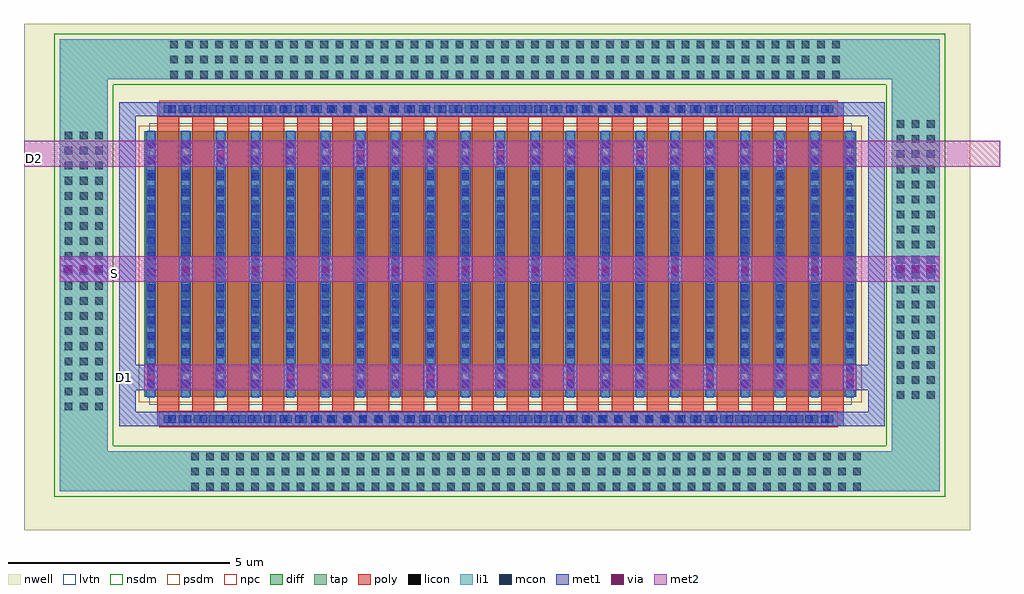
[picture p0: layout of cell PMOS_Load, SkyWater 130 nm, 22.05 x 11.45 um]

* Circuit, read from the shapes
.subckt PMOS_Load D1 D2 S
XM1 S D1 D1 S sky130_fd_pr__pfet_01v8_lvt w=6 l=0.5 m=10
XM2 D2 D1 S S sky130_fd_pr__pfet_01v8_lvt w=6 l=0.5 m=10
.ends

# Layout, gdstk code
import gdstk
lib = gdstk.Library(unit=1e-6, precision=1e-09)
def R(c, l, rs):  # rectangles x0, y0, x1, y1
    for r in rs: c.add(gdstk.rectangle(r[:2], r[2:], *l))
def A(c, l, x, y, w, h, nx, ny, dx, dy):  # array of equal rectangles
    R(c, l, [(x+i*dx, y+j*dy, x+i*dx+w, y+j*dy+h) for i in range(nx) for j in range(ny)])
nwell = (64, 20)
diff = (65, 20)
tap = (65, 44)
poly = (66, 20)
licon = (66, 44)
li1 = (67, 20)
mcon = (67, 44)
met1 = (68, 20)
via = (68, 44)
met2 = (69, 20)
nsdm = (93, 44)
psdm = (94, 20)
npc = (95, 20)
lvtn = (125, 44)

sky130_fd_pr__pfet_01v8_ = lib.new_cell('sky130_fd_pr__pfet_01v8_lvt_EEU9S7')
R(sky130_fd_pr__pfet_01v8_, nwell, [(-0.72,-3.31,0.72,3.31)])
R(sky130_fd_pr__pfet_01v8_, diff, [(-0.54,-3,0.54,3)])
R(sky130_fd_pr__pfet_01v8_, poly, [(-0.25,-3.13,0.25,3.13)])
A(sky130_fd_pr__pfet_01v8_, licon, -0.48, -2.805, 0.17, 0.17, 1, 17, 0, 0.34)
A(sky130_fd_pr__pfet_01v8_, licon, 0.31, -2.805, 0.17, 0.17, 1, 17, 0, 0.34)
R(sky130_fd_pr__pfet_01v8_, li1, [(-0.48,-3.02,-0.31,3.02), (0.31,-3.02,0.48,3.02)])
A(sky130_fd_pr__pfet_01v8_, mcon, -0.48, -2.785, 0.17, 0.17, 1, 16, 0, 0.36)
A(sky130_fd_pr__pfet_01v8_, mcon, 0.31, -2.785, 0.17, 0.17, 1, 16, 0, 0.36)
R(sky130_fd_pr__pfet_01v8_, met1, [(-0.51,-3,-0.28,3), (0.28,-3,0.51,3)])
R(sky130_fd_pr__pfet_01v8_, psdm, [(-0.665,-3.125,0.665,3.125)])
R(sky130_fd_pr__pfet_01v8_, lvtn, [(-0.43,-3.18,0.43,3.18)])

pmos_load = lib.new_cell('PMOS_Load')
R(pmos_load, nwell, [(-2.54,-2.705,18.845,8.745)])
R(pmos_load, tap, [(-1.735,-1.825,18.155,-0.92), (-1.735,-0.92,-0.645,7.485), (17.065,-0.92,18.155,7.485), (-1.735,7.485,18.155,8.39)])
A(pmos_load, poly, 0.47, -0.03, 0.5, 0.21, 20, 2, 0.79, 6.47)
R(pmos_load, poly, [(0.47,-0.35,15.98,-0.03), (0.47,6.65,15.98,6.97)])
A(pmos_load, licon, 1.24, -1.8, 0.17, 0.17, 45, 3, 0.34, 0.34)
A(pmos_load, licon, 0.615, -0.27, 0.17, 0.17, 45, 2, 0.34, 7)
A(pmos_load, licon, -1.615, 0.01, 0.17, 0.17, 3, 19, 0.34, 0.34)
A(pmos_load, licon, 17.185, 0.27, 0.17, 0.17, 3, 19, 0.34, 0.34)
A(pmos_load, licon, 0.76, 7.51, 0.17, 0.17, 45, 3, 0.34, 0.34)
R(pmos_load, li1, [(-1.735,-1.825,18.155,-0.92), (-1.735,-0.92,-0.645,7.485), (17.065,-0.92,18.155,7.485), (0.47,-0.35,15.98,-0.03), (0.47,6.65,15.98,6.97), (-1.735,7.485,18.155,8.39)])
A(pmos_load, mcon, 0.715, -0.27, 0.17, 0.17, 42, 2, 0.36, 7)
A(pmos_load, mcon, -1.645, 3.115, 0.17, 0.17, 3, 1, 0.36, 0)
A(pmos_load, mcon, 17.16, 3.12, 0.17, 0.17, 3, 1, 0.36, 0)
A(pmos_load, met1, 3.325, 0.46, 0.32, 0.58, 4, 1, 3.16, 0)
A(pmos_load, met1, 0.955, 2.91, 0.32, 0.58, 10, 1, 1.58, 0)
A(pmos_load, met1, 1.745, 5.515, 0.32, 0.58, 5, 1, 3.16, 0)
R(pmos_load, met1, [(-0.385,-0.35,16.915,-0.03), (-0.385,-0.03,-0.01,0.46), (16.54,-0.03,16.915,0.46), (-0.385,0.46,0.485,1.04), (15.965,0.46,16.915,1.04), (-0.385,1.04,-0.01,6.65), (16.54,1.04,16.915,6.65), (-1.735,2.91,-0.645,3.49), (17.065,2.91,18.155,3.49), (-0.385,6.65,16.915,6.97)])
A(pmos_load, via, 0.25, 0.675, 0.15, 0.15, 6, 1, 3.16, 0)
A(pmos_load, via, -1.595, 3.125, 0.15, 0.15, 3, 1, 0.32, 0)
A(pmos_load, via, 1.04, 3.125, 0.15, 0.15, 10, 1, 1.58, 0)
A(pmos_load, via, 17.21, 3.13, 0.15, 0.15, 3, 1, 0.32, 0)
A(pmos_load, via, 1.83, 5.73, 0.15, 0.15, 5, 1, 3.16, 0)
R(pmos_load, met2, [(0.18,0.46,16.27,1.04), (-1.735,2.91,18.155,3.49), (-2.54,5.515,19.515,6.095)])
R(pmos_load, nsdm, [(-1.86,-1.95,18.28,-0.795), (-1.86,-0.795,-0.52,7.36), (16.94,-0.795,18.28,7.36), (-1.86,7.36,18.28,8.515)])
R(pmos_load, npc, [(0.515,-0.37,15.845,0), (0.515,6.63,15.845,7)])
pmos_load.add(gdstk.Reference(sky130_fd_pr__pfet_01v8_, (0.72,3.31)))
pmos_load.add(gdstk.Reference(sky130_fd_pr__pfet_01v8_, (1.51,3.31)))
pmos_load.add(gdstk.Reference(sky130_fd_pr__pfet_01v8_, (2.3,3.31)))
pmos_load.add(gdstk.Reference(sky130_fd_pr__pfet_01v8_, (3.09,3.31)))
pmos_load.add(gdstk.Reference(sky130_fd_pr__pfet_01v8_, (3.88,3.31)))
pmos_load.add(gdstk.Reference(sky130_fd_pr__pfet_01v8_, (4.67,3.31)))
pmos_load.add(gdstk.Reference(sky130_fd_pr__pfet_01v8_, (5.46,3.31)))
pmos_load.add(gdstk.Reference(sky130_fd_pr__pfet_01v8_, (6.25,3.31)))
pmos_load.add(gdstk.Reference(sky130_fd_pr__pfet_01v8_, (7.04,3.31)))
pmos_load.add(gdstk.Reference(sky130_fd_pr__pfet_01v8_, (7.83,3.31)))
pmos_load.add(gdstk.Reference(sky130_fd_pr__pfet_01v8_, (8.62,3.31)))
pmos_load.add(gdstk.Reference(sky130_fd_pr__pfet_01v8_, (10.2,3.31)))
pmos_load.add(gdstk.Reference(sky130_fd_pr__pfet_01v8_, (9.41,3.31)))
pmos_load.add(gdstk.Reference(sky130_fd_pr__pfet_01v8_, (11.78,3.31)))
pmos_load.add(gdstk.Reference(sky130_fd_pr__pfet_01v8_, (10.99,3.31)))
pmos_load.add(gdstk.Reference(sky130_fd_pr__pfet_01v8_, (13.36,3.31)))
pmos_load.add(gdstk.Reference(sky130_fd_pr__pfet_01v8_, (12.57,3.31)))
pmos_load.add(gdstk.Reference(sky130_fd_pr__pfet_01v8_, (14.94,3.31)))
pmos_load.add(gdstk.Reference(sky130_fd_pr__pfet_01v8_, (14.15,3.31)))
pmos_load.add(gdstk.Reference(sky130_fd_pr__pfet_01v8_, (15.73,3.31)))
pmos_load.add(gdstk.Label('D2', (-2.305,5.7), layer=69, texttype=16))
pmos_load.add(gdstk.Label('D1', (-0.265,0.74), layer=68, texttype=16))
pmos_load.add(gdstk.Label('S', (-0.5,3.095), layer=69, texttype=16))

lib.write_gds('PMOS_Load.gds')
